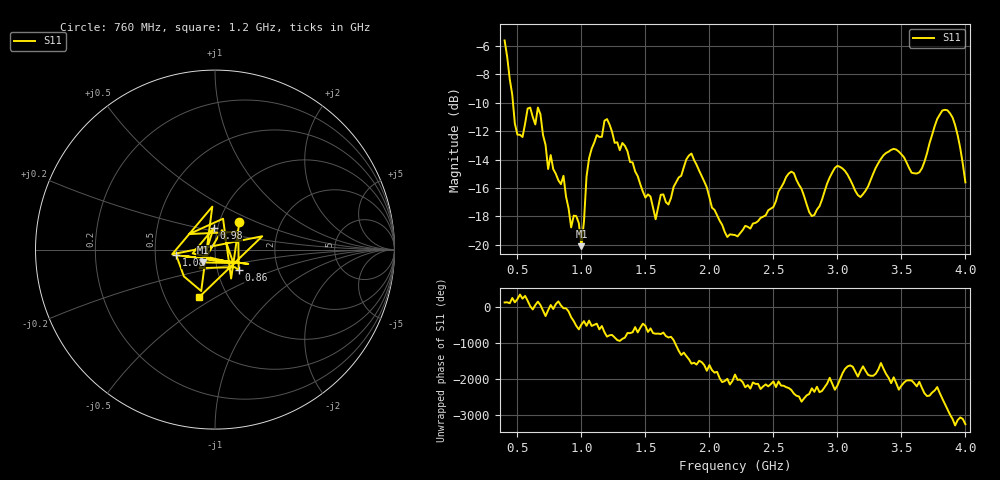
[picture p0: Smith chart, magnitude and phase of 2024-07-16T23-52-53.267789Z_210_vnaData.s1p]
!Created with skrf (http://scikit-rf.org).
# Hz S RI R 50.0
!freq ReS11 ImS11
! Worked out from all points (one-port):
!   181 points, 400 MHz to 4 GHz, reference 50 ohm
!   lowest |S11| = -20.1 dB at 1 GHz (marker M1), VSWR 1.22, Z = 43.2 - j6.22 ohm
!   |S11| at or under -10 dB: 465.5 MHz to end of sweep
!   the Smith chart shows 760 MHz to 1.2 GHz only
!   S11 on the Smith chart (normalised r, x): 760 MHz: 1.24, +0.41; 860 MHz: 1.26, -0.30; 980 MHz: 0.96, +0.23; 1.08 GHz: 0.64, -0.04; 1.2 GHz: 0.74, -0.42
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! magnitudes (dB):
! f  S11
! 400 MHz  -5.6
! 500 MHz  -12.2
! 660 MHz  -10.3
! 740 MHz  -14.7
! 760 MHz  -13.7
! 860 MHz  -15.1
! 920 MHz  -18.8
! 980 MHz  -18.5
! 1 GHz  -20.1
! 1.04 GHz  -15.2
! 1.08 GHz  -13.2
! 1.2 GHz  -11.1
! 1.3 GHz  -13.3
! 1.58 GHz  -18.2
! 1.76 GHz  -15.3
! 1.86 GHz  -13.6
! 2.14 GHz  -19.4
! 2.2 GHz  -19.3
! 2.66 GHz  -15.0
! 2.8 GHz  -18.0
! 2.98 GHz  -14.6
! 3.1 GHz  -15.4
! 3.18 GHz  -16.6
! 3.44 GHz  -13.2
! 3.56 GHz  -14.6
! 3.64 GHz  -14.9
! 3.86 GHz  -10.5
! 4 GHz  -15.6
